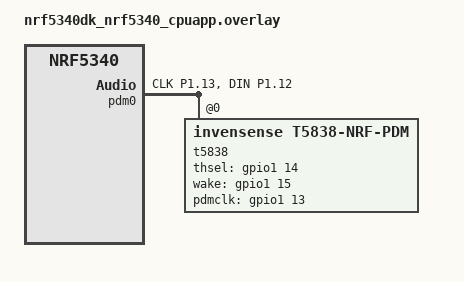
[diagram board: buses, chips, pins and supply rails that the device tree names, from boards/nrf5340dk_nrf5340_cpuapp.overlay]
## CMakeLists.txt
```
# SPDX-License-Identifier: Apache-2.0

cmake_minimum_required(VERSION 3.20.0)

find_package(Zephyr REQUIRED HINTS $ENV{ZEPHYR_BASE})
project(dmic-triggered)

target_sources(app PRIVATE src/main.c)
```

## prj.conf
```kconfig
CONFIG_AUDIO=y
CONFIG_AUDIO_DMIC=y
CONFIG_AUDIO_DMIC_NRFX_PDM=n

CONFIG_LOG=y

# segger RTT
CONFIG_USE_SEGGER_RTT=y
CONFIG_SEGGER_RTT_BUFFER_SIZE_UP=8192
CONFIG_LOG_BUFFER_SIZE=8192
CONFIG_LOG_BACKEND_UART=n

CONFIG_T5838_LOG_LEVEL_DBG=y
CONFIG_T5838_AAD_TRIGGER=y
```

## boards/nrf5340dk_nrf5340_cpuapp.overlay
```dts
/*
 * Copyright (c) 2021 Nordic Semiconductor ASA
 *
 * SPDX-License-Identifier: Apache-2.0
 */

&clock {
	hfclkaudio-frequency = <12288000>;
};

&pinctrl {
	pdm0_default_alt: pdm0_default_alt {
		group1 {
			psels = <NRF_PSEL(PDM_CLK, 1, 13)>,
					<NRF_PSEL(PDM_DIN, 1, 12)>;
		};
	};
};

dmic_dev: &pdm0 {
	status = "okay";
	pinctrl-0 = <&pdm0_default_alt>;
	pinctrl-names = "default";
	clock-source = "PCLK32M_HFXO";
	#address-cells = <0x1>;
	#size-cells = <0x0>;
	t5838: t5838@0 {
		status = "okay";
		compatible = "invensense,t5838-nrf-pdm";
		thsel-gpios = <&gpio1 14 GPIO_ACTIVE_HIGH>;
		wake-gpios = <&gpio1 15 GPIO_ACTIVE_HIGH>;
		pdmclk-gpios = <&gpio1 13 GPIO_ACTIVE_HIGH>;
		reg = <0x0>;
	};
};
```

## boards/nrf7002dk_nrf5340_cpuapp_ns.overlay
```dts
/*
 * Copyright (c) 2021 Nordic Semiconductor ASA
 *
 * SPDX-License-Identifier: Apache-2.0
 */

&pinctrl {
	pdm0_default_alt: pdm0_default_alt {
		group1 {
			psels = <NRF_PSEL(PDM_CLK, 1, 13)>,
				<NRF_PSEL(PDM_DIN, 1, 12)>;
		};
	};
};

dmic_dev: &pdm0 {
	status = "okay";
	pinctrl-0 = <&pdm0_default_alt>;
	pinctrl-names = "default";
	clock-source = "PCLK32M_HFXO";
	#address-cells = < 0x1 >;
	#size-cells = < 0x0 >;
	t5838: t5838@0 {
		status = "okay";
		compatible = "invensense,t5838-nrf-pdm";
		thsel-gpios = <&gpio1 14 GPIO_ACTIVE_HIGH>;
		wake-gpios = <&gpio1 15 GPIO_ACTIVE_HIGH>;
		pdmclk-gpios = <&gpio1 13 GPIO_ACTIVE_HIGH>;
		reg = <0x0>;
	};
};
```

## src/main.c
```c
/*
 * Copyright (c) 2021 Nordic Semiconductor ASA
 *
 * SPDX-License-Identifier: Apache-2.0
 */
#include <t5838.h>

#include <zephyr/audio/dmic.h>
#include <zephyr/kernel.h>
#include <zephyr/kernel_version.h>

#include <zephyr/logging/log.h>
LOG_MODULE_REGISTER(dmic_sample);

#define MAX_SAMPLE_RATE	 16000
#define SAMPLE_BIT_WIDTH 16
#define BYTES_PER_SAMPLE sizeof(int16_t)
/* Milliseconds to wait for a block to be read. */
#define READ_TIMEOUT	 1000

/* Size of a block for 100 ms of audio data. */
#define BLOCK_SIZE(_sample_rate, _number_of_channels)                                              \
	(BYTES_PER_SAMPLE * (_sample_rate / 10) * _number_of_channels)

/* Driver will allocate blocks from this slab to receive audio data into them.
 * Application, after getting a given block from the driver and processing its
 * data, needs to free that block.
 */
#define MAX_BLOCK_SIZE BLOCK_SIZE(MAX_SAMPLE_RATE, 2)
#define BLOCK_COUNT    6
K_MEM_SLAB_DEFINE_STATIC(mem_slab, MAX_BLOCK_SIZE, BLOCK_COUNT, 6);

K_SEM_DEFINE(mic_sem, 0, 1);
void t5838_cb(const struct device *dev)
{
	LOG_INF("T5838 interrupt triggered");
	k_sem_give(&mic_sem);
}

int main(void)
{
	const struct device *const dmic_dev = DEVICE_DT_GET(DT_NODELABEL(pdm0));
	const struct device *const dmic_aad_dev = DEVICE_DT_GET(DT_NODELABEL(t5838));
	int ret;

	LOG_INF("DMIC triggered sample");
	if (!device_is_ready(dmic_dev)) {
		LOG_ERR("%s is not ready", dmic_dev->name);
		return 0;
	}

	struct pcm_stream_cfg stream = {
		.pcm_width = SAMPLE_BIT_WIDTH,
		.mem_slab = &mem_slab,
	};
	struct dmic_cfg cfg = {
		.io =
			{
				/* These fields can be used to limit the PDM clock
				 * configurations that the driver is allowed to use
				 * to those supported by the microphone.
				 */
				.min_pdm_clk_freq = 1000000,
				.max_pdm_clk_freq = 3500000,
				.min_pdm_clk_dc = 40,
				.max_pdm_clk_dc = 60,
			},
		.streams = &stream,
		.channel =
			{
				.req_num_streams = 1,
			},
	};

	cfg.channel.req_num_chan = 1;
	cfg.channel.req_chan_map_lo = dmic_build_channel_map(0, 0, PDM_CHAN_LEFT);
	cfg.streams[0].pcm_rate = MAX_SAMPLE_RATE;
	cfg.streams[0].block_size = BLOCK_SIZE(cfg.streams[0].pcm_rate, cfg.channel.req_num_chan);

	LOG_INF("PCM output rate: %u, channels: %u", cfg.streams[0].pcm_rate,
		cfg.channel.req_num_chan);

	ret = dmic_configure(dmic_dev, &cfg);
	if (ret < 0) {
		LOG_ERR("Failed to configure the driver: %d", ret);
		return ret;
	}
	/*AAD A CONFIGURATION */
	struct t5838_aad_a_conf aadcfg = {
		.aad_a_lpf = T5838_AAD_A_LPF_2_0kHz,
		.aad_a_thr = T5838_AAD_A_THR_85dB,
	};
	t5838_aad_a_mode_set(dmic_aad_dev, &aadcfg);
	t5838_aad_wake_handler_set(dmic_aad_dev, t5838_cb);
	while (1) {

		LOG_INF("Waiting on dmic trigger");
		k_sem_take(&mic_sem, K_FOREVER);
		ret = dmic_trigger(dmic_dev, DMIC_TRIGGER_START);
		if (ret < 0) {
			LOG_ERR("START trigger failed: %d", ret);
			return ret;
		}

		for (int i = 0; i < 2; ++i) {
			void *buffer;
			uint32_t size;
			int ret;

			ret = dmic_read(dmic_dev, 0, &buffer, &size, READ_TIMEOUT);
			if (ret < 0) {
				LOG_ERR("%d - read failed: %d", i, ret);
				return ret;
			}

			LOG_INF("%d - got buffer %p of %u bytes", i, buffer, size);

			k_mem_slab_free(&mem_slab, &buffer);
		}

		ret = dmic_trigger(dmic_dev, DMIC_TRIGGER_STOP);
		if (ret < 0) {
			LOG_ERR("STOP trigger failed: %d", ret);
			return ret;
		}
		t5838_aad_wake_clear(dmic_aad_dev);
	}

	LOG_INF("Exiting");
	return 0;
}
```
